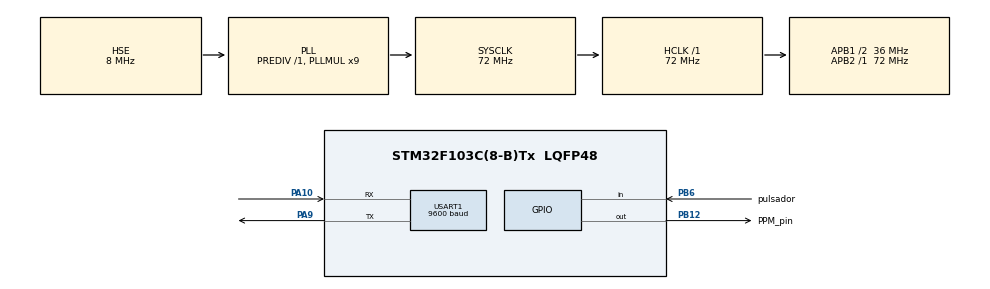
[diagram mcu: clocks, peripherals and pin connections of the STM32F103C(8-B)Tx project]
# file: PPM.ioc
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Mcu.Family=STM32F1
RCC.PLLSourceVirtual=RCC_PLLSOURCE_HSE
PD1-OSC_OUT.Mode=HSE-External-Oscillator
PA10.Mode=Asynchronous
USART1.BaudRate=9600
PB6.GPIO_Label=pulsador
PD0-OSC_IN.Signal=RCC_OSC_IN
RCC.APB1CLKDivider=RCC_HCLK_DIV2
RCC.SYSCLKSource=RCC_SYSCLKSOURCE_PLLCLK
ProjectManager.StackSize=0x400
PD1-OSC_OUT.Signal=RCC_OSC_OUT
PA13.Signal=SYS_JTMS-SWDIO
PA9.Mode=Asynchronous
ProjectManager.TargetToolchain=Makefile
RCC.HCLKFreq_Value=72000000
RCC.APB2TimFreq_Value=72000000
PA9.Signal=USART1_TX
PB6.Signal=GPIO_Input
PB12.PinState=GPIO_PIN_RESET
RCC.USBFreq_Value=72000000
TIM4.Prescaler=36
RCC.AHBFreq_Value=72000000
PD0-OSC_IN.Mode=HSE-External-Oscillator
board=custom
RCC.PLLMUL=RCC_PLL_MUL9
PB12.GPIO_Label=PPM_pin
RCC.APB2Freq_Value=72000000
PA14.Mode=Serial_Wire
TIM4.Period=256
PA13.Mode=Serial_Wire
Mcu.Name=STM32F103C(8-B)Tx
RCC.SYSCLKFreq_VALUE=72000000
Mcu.Package=LQFP48
USART1.VirtualMode=VM_ASYNC
PA10.Signal=USART1_RX
PA14.Signal=SYS_JTCK-SWCLK
ProjectManager.HeapSize=0x200
VP_TIM4_VS_ClockSourceINT.Mode=Internal
NVIC.PriorityGroup=NVIC_PRIORITYGROUP_4
RCC.APB1TimFreq_Value=72000000
NVIC.TIM4_IRQn=true\:0\:0\:false\:false\:true\:true\:true
PB12.GPIO_PuPd=GPIO_NOPULL
RCC.APB1Freq_Value=36000000
PB12.Signal=GPIO_Output

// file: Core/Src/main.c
/* USER CODE BEGIN Header */
#define leer_pin_pulsador() HAL_GPIO_ReadPin(pulsador_GPIO_Port, pulsador_Pin)
/* USER CODE END Header */

#include "main.h"
#include "tim.h"
#include "usart.h"
#include "gpio.h"

/* USER CODE BEGIN Includes */
#include "uart.h"
#include "transmisor.h"
#include "../../../../../TLE/src/TLE/TLE.h"
/* USER CODE END Includes */

void SystemClock_Config(void);

/* USER CODE BEGIN 0 */
char line1[SIZE_LINES];
/* USER CODE END 0 */

int main(void)
{

  /* MCU Configuration--------------------------------------------------------*/

  /* Reset of all peripherals, Initializes the Flash interface and the Systick. */
  HAL_Init();

  /* Configure the system clock */
  SystemClock_Config();

  /* Initialize all configured peripherals */
  MX_GPIO_Init();
  MX_TIM4_Init();
  MX_USART1_UART_Init();
  /* USER CODE BEGIN 2 */
  HAL_TIM_Base_Start_IT(&htim4);

  init_line(LINE1, line1);                                      // inicializar línea
  set_line(LINE1_CATALOG_NUM, "25544", line1);                  // Catalog number
  set_line(LINE1_CLASSIFICATION, "U", line1);                   // Classification
  set_line(LINE1_INTERN_DES_LAUNCH_YEAR, "98", line1);          // Launch year
  set_line(LINE1_INTERN_DES_LAUNCH_NUM_YEAR, "067", line1);     // Num year
  set_line(LINE1_INTERN_DESIGN, "A", line1);                    // International designator
  set_line(LINE1_EPOCH_YEAR, "08", line1);                      // Epoch year
  set_line(LINE1_EPOCH_DAY, "264.51782528", line1);             // Epoch day
  set_line(LINE1_FIRST_DERIV_MEAN_MOTION, "-.00002182", line1); // 1 derivative mean motion
  set_line(LINE1_SECOND_DERIV_MEAN_MOTION, "00000-0", line1);   // 2 derivative mean motion
  set_line(LINE1_DRAG_TERM_COEF, "-11606-4", line1);            // drag term
  set_line(LINE1_EPHEMERIS, "6", line1);                        // ephem type
  set_line(LINE1_ELEM_SET_NUM, "292", line1);                   // Element set number
  set_line(LINE1_CHECKSUM, "7", line1);                         // checksum
  /* USER CODE END 2 */

  /* Infinite loop */
  /* USER CODE BEGIN WHILE */
  while (1)
  {

    if (leer_pin_pulsador() == GPIO_PIN_SET)
    {
      HAL_Delay(10);

      if (leer_pin_pulsador() == GPIO_PIN_SET)
      {
        while (leer_pin_pulsador() == GPIO_PIN_SET)
          ;

        send_byte(2); // señal de start (envía lo que quieras, es para empezar)
        while (can_send == SENDING)
          ;

        send(line1);
        send_byte(4); // señal stop
        while (can_send == SENDING)
          ;
      }
    }

    /* USER CODE END WHILE */

  }
}

void SystemClock_Config(void)
{
  RCC_OscInitTypeDef RCC_OscInitStruct = {0};
  RCC_ClkInitTypeDef RCC_ClkInitStruct = {0};

  /** Initializes the CPU, AHB and APB busses clocks
  */
  RCC_OscInitStruct.OscillatorType = RCC_OSCILLATORTYPE_HSE;
  RCC_OscInitStruct.HSEState = RCC_HSE_ON;
  RCC_OscInitStruct.HSEPredivValue = RCC_HSE_PREDIV_DIV1;
  RCC_OscInitStruct.HSIState = RCC_HSI_ON;
  RCC_OscInitStruct.PLL.PLLState = RCC_PLL_ON;
  RCC_OscInitStruct.PLL.PLLSource = RCC_PLLSOURCE_HSE;
  RCC_OscInitStruct.PLL.PLLMUL = RCC_PLL_MUL9;
  if (HAL_RCC_OscConfig(&RCC_OscInitStruct) != HAL_OK)
  {
    Error_Handler();
  }
  /** Initializes the CPU, AHB and APB busses clocks
  */
  RCC_ClkInitStruct.ClockType = RCC_CLOCKTYPE_HCLK|RCC_CLOCKTYPE_SYSCLK
                              |RCC_CLOCKTYPE_PCLK1|RCC_CLOCKTYPE_PCLK2;
  RCC_ClkInitStruct.SYSCLKSource = RCC_SYSCLKSOURCE_PLLCLK;
  RCC_ClkInitStruct.AHBCLKDivider = RCC_SYSCLK_DIV1;
  RCC_ClkInitStruct.APB1CLKDivider = RCC_HCLK_DIV2;
  RCC_ClkInitStruct.APB2CLKDivider = RCC_HCLK_DIV1;

  if (HAL_RCC_ClockConfig(&RCC_ClkInitStruct, FLASH_LATENCY_2) != HAL_OK)
  {
    Error_Handler();
  }
}

void Error_Handler(void)
{
}

/************************ (C) COPYRIGHT STMicroelectronics *****END OF FILE****/
